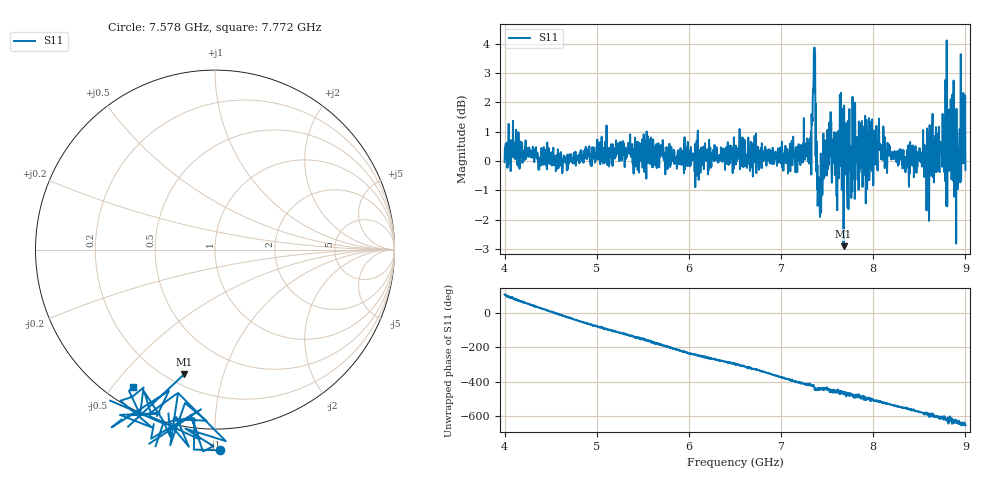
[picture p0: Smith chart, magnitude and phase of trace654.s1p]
! Created with skrf 1.8.0 (http://scikit-rf.org).
# Hz S RI R 50.0
!freq ReS11 ImS11
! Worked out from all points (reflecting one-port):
!   1601 points, 4 GHz to 9 GHz, reference 50 ohm
!   lowest |S11| = -2.9 dB at 7.678 GHz (marker M1), VSWR 6.05, Z = 13.1 - j37.4 ohm
!   phase of S11 starts at 111 deg and turns -767 deg over the sweep
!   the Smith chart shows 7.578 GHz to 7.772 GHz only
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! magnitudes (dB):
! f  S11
! 4 GHz  0.0
! 4.066 GHz  -0.3
! 4.625 GHz  -0.4
! 5.25 GHz  0.3
! 5.875 GHz  0.0
! 6.5 GHz  0.1
! 7.125 GHz  0.2
! 7.303 GHz  0.2
! 7.356 GHz  3.7
! 7.369 GHz  3.7
! 7.4 GHz  -1.1
! 7.422 GHz  -1.9
! 7.478 GHz  0.3
! 7.519 GHz  0.0
! 7.609 GHz  -1.7
! 7.644 GHz  1.2
! 7.678 GHz  -2.9
! 7.75 GHz  0.5
! 8.088 GHz  0.3
! 8.375 GHz  -0.1
! 8.522 GHz  0.0
! 8.603 GHz  -1.7
! 8.656 GHz  0.7
! 8.766 GHz  1.0
! 8.775 GHz  1.5
! 8.919 GHz  -0.3
! 8.972 GHz  0.9
! 9 GHz  -0.3
